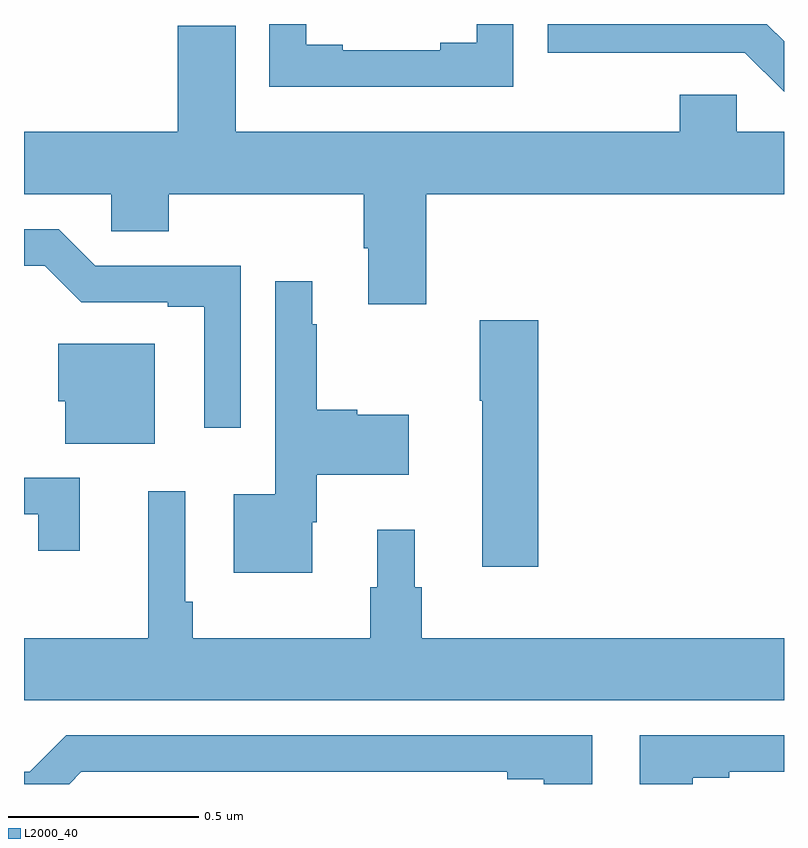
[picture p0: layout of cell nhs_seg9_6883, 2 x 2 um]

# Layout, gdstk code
import gdstk
lib = gdstk.Library(unit=1e-6, precision=1e-09)
def P(c, l, *ps):  # polygons
    for p in ps: c.add(gdstk.Polygon(p, *l))
L2000_40 = (2000, 40)

nhs_seg9_6883 = lib.new_cell('nhs_seg9_6883')
P(nhs_seg9_6883, L2000_40, [(199,1231.454),(198.954,1231.5),(198.378,1231.5),(198.378,1231.424),(198.641,1231.424),(198.641,1231.425),(198.897,1231.425),(199,1231.322)],
  [(198.288,1231.5),(198.191,1231.5),(198.191,1231.451),(198.095,1231.451),(198.095,1231.431),(197.839,1231.431),(197.839,1231.446),(197.743,1231.446),(197.743,1231.5),(197.646,1231.5),(197.646,1231.335),(198.288,1231.335)],
  [(198.059,1231.052),(199,1231.052),(199,1231.216),(198.876,1231.216),(198.876,1231.314),(198.725,1231.314),(198.725,1231.216),(197.557,1231.216),(197.557,1231.496),(197.405,1231.496),(197.405,1231.216),(197,1231.216),(197,1231.052),(197.229,1231.052),(197.229,1230.954),(197.381,1230.954),(197.381,1231.052),(197.894,1231.052),(197.894,1230.91),(197.906,1230.91),(197.906,1230.762),(198.059,1230.762)],
  [(197.571,1230.864),(197.187,1230.864),(197.091,1230.96),(197,1230.96),(197,1230.864),(197.055,1230.864),(197.151,1230.768),(197.378,1230.768),(197.378,1230.756),(197.474,1230.756),(197.474,1230.438),(197.571,1230.438)],
  [(197.758,1230.189),(197.77,1230.189),(197.77,1230.314),(198.013,1230.314),(198.013,1230.472),(197.877,1230.472),(197.877,1230.485),(197.77,1230.485),(197.77,1230.71),(197.758,1230.71),(197.758,1230.823),(197.661,1230.823),(197.661,1230.262),(197.552,1230.262),(197.552,1230.056),(197.758,1230.056)],
  [(198.353,1230.721),(198.199,1230.721),(198.199,1230.508),(198.206,1230.508),(198.206,1230.072),(198.353,1230.072)],
  [(197.344,1230.658),(197.09,1230.658),(197.09,1230.507),(197.108,1230.507),(197.108,1230.395),(197.344,1230.395)],
  [(197.147,1230.306),(197,1230.306),(197,1230.21),(197.038,1230.21),(197.038,1230.114),(197.147,1230.114)],
  [(199,1229.884),(198.047,1229.884),(198.047,1230.018),(198.028,1230.018),(198.028,1230.169),(197.93,1230.169),(197.93,1230.018),(197.911,1230.018),(197.911,1229.884),(197.444,1229.884),(197.444,1229.98),(197.424,1229.98),(197.424,1230.271),(197.327,1230.271),(197.327,1229.884),(197,1229.884),(197,1229.72),(199,1229.72)],
  [(198.76,1229.517),(198.856,1229.517),(198.856,1229.532),(199,1229.532),(199,1229.628),(198.62,1229.628),(198.62,1229.5),(198.76,1229.5)],
  [(197.151,1229.532),(198.272,1229.532),(198.272,1229.512),(198.368,1229.512),(198.368,1229.5),(198.496,1229.5),(198.496,1229.628),(197.111,1229.628),(197.015,1229.532),(197,1229.532),(197,1229.5),(197.119,1229.5)])

lib.write_gds('nhs_seg9_6883.gds')
